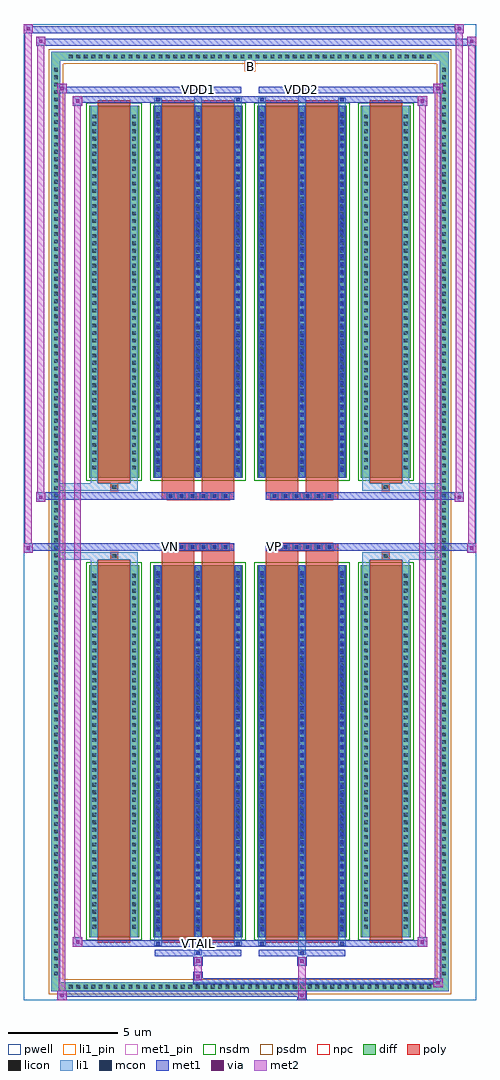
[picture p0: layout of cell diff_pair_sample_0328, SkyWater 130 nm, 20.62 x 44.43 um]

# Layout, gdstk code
import gdstk
lib = gdstk.Library(unit=1e-6, precision=5e-09)
def R(c, l, rs):  # rectangles x0, y0, x1, y1
    for r in rs: c.add(gdstk.rectangle(r[:2], r[2:], *l))
def A(c, l, x, y, w, h, nx, ny, dx, dy):  # array of equal rectangles
    R(c, l, [(x+i*dx, y+j*dy, x+i*dx+w, y+j*dy+h) for i in range(nx) for j in range(ny)])
def P(c, l, *ps):  # polygons
    for p in ps: c.add(gdstk.Polygon(p, *l))
pwell = (64, 44)
diff = (65, 20)
poly = (66, 20)
licon = (66, 44)
li1_pin = (67, 16)
li1 = (67, 20)
mcon = (67, 44)
met1_pin = (68, 16)
met1 = (68, 20)
via = (68, 44)
met2 = (69, 20)
nsdm = (93, 44)
psdm = (94, 20)
npc = (95, 20)

diff_pair_sample_0328 = lib.new_cell('diff_pair_sample_0328')
R(diff_pair_sample_0328, pwell, [(-10.31,-21.78,10.31,22.65), (-7.63,-19.97,-0.01,-0.795), (0.01,-19.97,7.63,-0.795), (-7.63,0.795,-0.01,19.97), (0.01,0.795,7.63,19.97)])
A(diff_pair_sample_0328, diff, -8.365, -21.38, 0.41, 0.41, 49, 2, 0.34, 42.35)
A(diff_pair_sample_0328, diff, -9.04, -20.775, 0.41, 0.41, 1, 122, 0, 0.34)
A(diff_pair_sample_0328, diff, 8.63, -20.775, 0.41, 0.41, 1, 122, 0, 0.34)
R(diff_pair_sample_0328, diff, [(-8.365,-21.38,8.365,-20.97), (-9.04,-20.775,-8.63,20.775), (8.63,-20.775,9.04,20.775), (-7.32,-18.925,-5.05,-1.985), (-4.41,-18.925,-0.32,-1.985), (0.32,-18.925,4.41,-1.985), (5.05,-18.925,7.32,-1.985), (-7.32,1.985,-5.05,18.925), (-4.41,1.985,-0.32,18.925), (0.32,1.985,4.41,18.925), (5.05,1.985,7.32,18.925), (-8.365,20.97,8.365,21.38)])
P(diff_pair_sample_0328, diff, [(9.04,21.38),(-9.04,21.38),(-9.04,-20.97),(-8.63,-20.97),(-8.63,20.97),(8.63,20.97),(8.63,-20.97),(-8.63,-20.97),(-9.04,-20.97),(-9.04,-21.38),(9.04,-21.38)])
A(diff_pair_sample_0328, poly, -3.78, -1.325, 0.33, 0.33, 6, 2, 0.5, 2.32)
A(diff_pair_sample_0328, poly, 0.95, -1.325, 0.33, 0.33, 6, 2, 0.5, 2.32)
R(diff_pair_sample_0328, poly, [(-6.93,-19.175,-5.44,-1.735), (-4.02,-19.175,-2.53,-1.735), (-2.2,-19.175,-0.71,-1.735), (0.71,-19.175,2.2,-1.735), (2.53,-19.175,4.02,-1.735), (5.44,-19.175,6.93,-1.735), (-6.35,-1.735,-6.02,-1.405), (-6.35,-1.735,-6.02,-1.405), (-4.02,-1.735,-2.53,-1.325), (-2.2,-1.735,-0.71,-1.325), (0.71,-1.735,2.2,-1.325), (2.53,-1.735,4.02,-1.325), (6.02,-1.735,6.35,-1.405), (6.02,-1.735,6.35,-1.405), (-4.02,-1.325,-0.71,-0.995), (0.71,-1.325,4.02,-0.995), (-4.02,0.995,-0.71,1.325), (0.71,0.995,4.02,1.325), (-4.02,1.325,-2.53,1.735), (-2.2,1.325,-0.71,1.735), (0.71,1.325,2.2,1.735), (2.53,1.325,4.02,1.735), (-6.35,1.405,-6.02,1.735), (-6.35,1.405,-6.02,1.735), (6.02,1.405,6.35,1.735), (6.02,1.405,6.35,1.735), (-6.93,1.735,-5.44,19.175), (-4.02,1.735,-2.53,19.175), (-2.2,1.735,-0.71,19.175), (0.71,1.735,2.2,19.175), (2.53,1.735,4.02,19.175), (5.44,1.735,6.93,19.175)])
A(diff_pair_sample_0328, licon, -8.245, -21.26, 0.17, 0.17, 49, 2, 0.34, 42.35)
A(diff_pair_sample_0328, licon, -8.92, -20.655, 0.17, 0.17, 1, 122, 0, 0.34)
A(diff_pair_sample_0328, licon, 8.75, -20.655, 0.17, 0.17, 1, 122, 0, 0.34)
A(diff_pair_sample_0328, licon, -7.18, -18.53, 0.17, 0.17, 1, 48, 0, 0.34)
A(diff_pair_sample_0328, licon, -5.36, -18.53, 0.17, 0.17, 1, 48, 0, 0.34)
A(diff_pair_sample_0328, licon, -4.27, -18.53, 0.17, 0.17, 3, 48, 1.82, 0.34)
A(diff_pair_sample_0328, licon, 0.46, -18.53, 0.17, 0.17, 3, 48, 1.82, 0.34)
A(diff_pair_sample_0328, licon, 5.19, -18.53, 0.17, 0.17, 1, 48, 0, 0.34)
A(diff_pair_sample_0328, licon, 7.01, -18.53, 0.17, 0.17, 1, 48, 0, 0.34)
A(diff_pair_sample_0328, licon, -3.7, -1.245, 0.17, 0.17, 6, 2, 0.5, 2.32)
A(diff_pair_sample_0328, licon, 1.03, -1.245, 0.17, 0.17, 6, 2, 0.5, 2.32)
A(diff_pair_sample_0328, licon, -7.18, 2.38, 0.17, 0.17, 1, 48, 0, 0.34)
A(diff_pair_sample_0328, licon, -5.36, 2.38, 0.17, 0.17, 1, 48, 0, 0.34)
A(diff_pair_sample_0328, licon, -4.27, 2.38, 0.17, 0.17, 3, 48, 1.82, 0.34)
A(diff_pair_sample_0328, licon, 0.46, 2.38, 0.17, 0.17, 3, 48, 1.82, 0.34)
A(diff_pair_sample_0328, licon, 5.19, 2.38, 0.17, 0.17, 1, 48, 0, 0.34)
A(diff_pair_sample_0328, licon, 7.01, 2.38, 0.17, 0.17, 1, 48, 0, 0.34)
R(diff_pair_sample_0328, licon, [(-6.27,-1.655,-6.1,-1.485), (6.1,-1.655,6.27,-1.485), (-6.27,1.485,-6.1,1.655), (6.1,1.485,6.27,1.655)])
R(diff_pair_sample_0328, li1_pin, [(-0.25,20.47,0.25,20.97)])
A(diff_pair_sample_0328, li1, -8.325, -21.34, 0.33, 0.33, 49, 2, 0.34, 42.35)
A(diff_pair_sample_0328, li1, -9, -20.735, 0.33, 0.33, 1, 122, 0, 0.34)
A(diff_pair_sample_0328, li1, 8.67, -20.735, 0.33, 0.33, 1, 122, 0, 0.34)
A(diff_pair_sample_0328, li1, -4.35, -18.925, 0.33, 16.94, 3, 2, 1.82, 20.91)
A(diff_pair_sample_0328, li1, 0.38, -18.925, 0.33, 16.94, 3, 2, 1.82, 20.91)
A(diff_pair_sample_0328, li1, -4.27, -18.64, 0.17, 0.17, 3, 46, 1.82, 0.36)
A(diff_pair_sample_0328, li1, -4.27, -18.64, 0.17, 16.37, 3, 2, 1.82, 20.91)
A(diff_pair_sample_0328, li1, 0.46, -18.64, 0.17, 0.17, 3, 46, 1.82, 0.36)
A(diff_pair_sample_0328, li1, 0.46, -18.64, 0.17, 16.37, 3, 2, 1.82, 20.91)
A(diff_pair_sample_0328, li1, -7.26, -18.61, 0.33, 0.33, 1, 48, 0, 0.34)
A(diff_pair_sample_0328, li1, -5.44, -18.61, 0.33, 0.33, 1, 48, 0, 0.34)
A(diff_pair_sample_0328, li1, -4.35, -18.61, 0.33, 0.33, 3, 48, 1.82, 0.34)
A(diff_pair_sample_0328, li1, 0.38, -18.61, 0.33, 0.33, 3, 48, 1.82, 0.34)
A(diff_pair_sample_0328, li1, 5.11, -18.61, 0.33, 0.33, 1, 48, 0, 0.34)
A(diff_pair_sample_0328, li1, 6.93, -18.61, 0.33, 0.33, 1, 48, 0, 0.34)
A(diff_pair_sample_0328, li1, -3.78, -1.325, 0.33, 0.33, 6, 2, 0.5, 2.32)
A(diff_pair_sample_0328, li1, 0.95, -1.325, 0.33, 0.33, 6, 2, 0.5, 2.32)
A(diff_pair_sample_0328, li1, -4.27, 2.27, 0.17, 0.17, 3, 46, 1.82, 0.36)
A(diff_pair_sample_0328, li1, 0.46, 2.27, 0.17, 0.17, 3, 46, 1.82, 0.36)
A(diff_pair_sample_0328, li1, -7.26, 2.3, 0.33, 0.33, 1, 48, 0, 0.34)
A(diff_pair_sample_0328, li1, -5.44, 2.3, 0.33, 0.33, 1, 48, 0, 0.34)
A(diff_pair_sample_0328, li1, -4.35, 2.3, 0.33, 0.33, 3, 48, 1.82, 0.34)
A(diff_pair_sample_0328, li1, 0.38, 2.3, 0.33, 0.33, 3, 48, 1.82, 0.34)
A(diff_pair_sample_0328, li1, 5.11, 2.3, 0.33, 0.33, 1, 48, 0, 0.34)
A(diff_pair_sample_0328, li1, 6.93, 2.3, 0.33, 0.33, 1, 48, 0, 0.34)
R(diff_pair_sample_0328, li1, [(-9.04,-21.38,-8.63,-20.97), (-9.04,-21.38,-8.63,-20.97), (-8.63,-21.38,8.63,-20.97), (8.63,-21.38,9.04,-20.97), (8.63,-21.38,9.04,-20.97), (-9.04,-20.97,-8.63,20.97), (8.63,-20.97,9.04,20.97), (-2.53,-19.73,-2.2,-18.925), (-2.45,-19.73,-2.28,-19.56), (2.2,-19.73,2.53,-18.925), (2.28,-19.73,2.45,-19.56), (-4.35,-19.3,-4.02,-18.925), (-4.27,-19.3,-4.1,-19.13), (-0.71,-19.3,-0.38,-18.925), (-0.63,-19.3,-0.46,-19.13), (0.38,-19.3,0.71,-18.925), (0.46,-19.3,0.63,-19.13), (4.02,-19.3,4.35,-18.925), (4.1,-19.3,4.27,-19.13), (-7.26,-18.925,-6.93,-1.985), (-5.44,-18.925,-5.11,-1.985), (5.11,-18.925,5.44,-1.985), (6.93,-18.925,7.26,-1.985), (-7.26,-1.985,-6.93,-1.405), (-5.44,-1.985,-5.11,-1.405), (5.11,-1.985,5.44,-1.405), (6.93,-1.985,7.26,-1.405), (-9.04,-1.735,-6.35,-1.405), (-7.26,-1.735,-6.35,-1.405), (-6.35,-1.735,-6.02,-1.405), (-6.02,-1.735,-5.11,-1.405), (5.11,-1.735,6.02,-1.405), (6.02,-1.735,6.35,-1.405), (6.02,-1.735,9.04,-1.405), (6.35,-1.735,7.26,-1.405), (-9.04,1.405,-6.35,1.735), (-7.26,1.405,-6.35,1.735), (-7.26,1.405,-6.93,1.985), (-6.35,1.405,-6.02,1.735), (-6.02,1.405,-5.11,1.735), (-5.44,1.405,-5.11,1.985), (5.11,1.405,6.02,1.735), (5.11,1.405,5.44,1.985), (6.02,1.405,6.35,1.735), (6.02,1.405,9.04,1.735), (6.35,1.405,7.26,1.735), (6.93,1.405,7.26,1.985), (-7.26,1.985,-6.93,18.925), (-5.44,1.985,-5.11,18.925), (5.11,1.985,5.44,18.925), (6.93,1.985,7.26,18.925), (-4.35,18.925,-4.02,19.3), (-2.53,18.925,-2.2,19.73), (-0.71,18.925,-0.38,19.3), (0.38,18.925,0.71,19.3), (2.2,18.925,2.53,19.73), (4.02,18.925,4.35,19.3), (-4.27,19.13,-4.1,19.3), (-0.63,19.13,-0.46,19.3), (0.46,19.13,0.63,19.3), (4.1,19.13,4.27,19.3), (-2.45,19.56,-2.28,19.73), (2.28,19.56,2.45,19.73), (-9.04,20.97,-8.63,21.38), (-9.04,20.97,-8.63,21.38), (-8.63,20.97,8.63,21.38), (8.63,20.97,9.04,21.38), (8.63,20.97,9.04,21.38)])
A(diff_pair_sample_0328, mcon, -4.27, -18.64, 0.17, 0.17, 3, 46, 1.82, 0.36)
A(diff_pair_sample_0328, mcon, 0.46, -18.64, 0.17, 0.17, 3, 46, 1.82, 0.36)
A(diff_pair_sample_0328, mcon, -3.7, -1.245, 0.17, 0.17, 6, 2, 0.5, 2.32)
A(diff_pair_sample_0328, mcon, 1.03, -1.245, 0.17, 0.17, 6, 2, 0.5, 2.32)
A(diff_pair_sample_0328, mcon, -4.27, 2.27, 0.17, 0.17, 3, 46, 1.82, 0.36)
A(diff_pair_sample_0328, mcon, 0.46, 2.27, 0.17, 0.17, 3, 46, 1.82, 0.36)
R(diff_pair_sample_0328, mcon, [(-2.45,-19.73,-2.28,-19.56), (2.28,-19.73,2.45,-19.56), (-4.27,-19.3,-4.1,-19.13), (-0.63,-19.3,-0.46,-19.13), (0.46,-19.3,0.63,-19.13), (4.1,-19.3,4.27,-19.13), (-4.27,19.13,-4.1,19.3), (-0.63,19.13,-0.46,19.3), (0.46,19.13,0.63,19.3), (4.1,19.13,4.27,19.3), (-2.45,19.56,-2.28,19.73), (2.28,19.56,2.45,19.73)])
R(diff_pair_sample_0328, met1_pin, [(-2.5,-19.34,-2.23,-19.07), (-3.75,-1.285,-3.48,-1.015), (0.98,-1.285,1.25,-1.015), (-2.5,19.52,-2.23,19.79), (2.23,19.52,2.5,19.79)])
A(diff_pair_sample_0328, met1, -4.33, -18.925, 0.29, 16.94, 3, 2, 1.82, 20.91)
A(diff_pair_sample_0328, met1, 0.4, -18.925, 0.29, 16.94, 3, 2, 1.82, 20.91)
A(diff_pair_sample_0328, met1, -4.33, -18.7, 0.29, 0.29, 3, 46, 1.82, 0.36)
A(diff_pair_sample_0328, met1, 0.4, -18.7, 0.29, 0.29, 3, 46, 1.82, 0.36)
A(diff_pair_sample_0328, met1, -3.76, -1.305, 0.29, 0.29, 6, 2, 0.5, 2.32)
A(diff_pair_sample_0328, met1, 0.97, -1.305, 0.29, 0.29, 6, 2, 0.5, 2.32)
A(diff_pair_sample_0328, met1, -4.33, 2.21, 0.29, 0.29, 3, 46, 1.82, 0.36)
A(diff_pair_sample_0328, met1, 0.4, 2.21, 0.29, 0.29, 3, 46, 1.82, 0.36)
R(diff_pair_sample_0328, met1, [(-8.77,-21.78,-8.34,-21.35), (2.15,-21.78,2.58,-21.35), (-8.77,-21.64,2.58,-21.35), (8.34,-21.21,8.77,-20.78), (-2.58,-21.07,8.77,-20.78), (-2.58,-20.93,-2.15,-20.5), (-2.58,-20.22,-2.15,-19.79), (2.15,-20.22,2.58,-19.79), (-4.33,-19.79,-0.4,-19.5), (-2.51,-19.79,-2.22,-19.5), (0.4,-19.79,4.33,-19.5), (2.22,-19.79,2.51,-19.5), (-8.06,-19.36,-7.63,-18.93), (-8.06,-19.36,-4.33,-19.07), (-4.33,-19.36,-4.04,-19.07), (-4.33,-19.36,-0.4,-19.07), (-0.69,-19.36,-0.4,-19.07), (-0.4,-19.36,0.4,-19.07), (0.4,-19.36,0.69,-19.07), (0.4,-19.36,4.33,-19.07), (4.04,-19.36,4.33,-19.07), (4.33,-19.36,8.06,-19.07), (7.63,-19.36,8.06,-18.93), (-10.31,-1.425,-9.88,-0.995), (9.88,-1.425,10.31,-0.995), (-10.31,-1.325,-0.71,-0.995), (-4.02,-1.325,-0.71,-0.995), (0.71,-1.325,4.02,-0.995), (0.71,-1.325,10.31,-0.995), (-9.74,0.895,-9.31,1.325), (9.31,0.895,9.74,1.325), (-9.74,0.995,-4.02,1.325), (-4.02,0.995,-0.71,1.325), (0.71,0.995,4.02,1.325), (4.02,0.995,9.74,1.325), (-8.06,18.93,-7.63,19.36), (7.63,18.93,8.06,19.36), (-8.06,19.07,-4.33,19.36), (-4.33,19.07,-4.04,19.36), (-4.33,19.07,-0.4,19.36), (-0.69,19.07,-0.4,19.36), (-0.4,19.07,0.4,19.36), (0.4,19.07,0.69,19.36), (0.4,19.07,4.33,19.36), (4.04,19.07,4.33,19.36), (4.33,19.07,8.06,19.36), (-8.77,19.5,-8.34,19.93), (-8.77,19.5,-4.33,19.79), (-4.33,19.5,-0.4,19.79), (-2.51,19.5,-2.22,19.79), (0.4,19.5,4.33,19.79), (2.22,19.5,2.51,19.79), (4.33,19.5,8.77,19.79), (8.34,19.5,8.77,19.93), (-9.74,21.65,-9.31,22.08), (-9.74,21.65,-7.63,21.98), (-7.63,21.65,7.63,21.98), (7.63,21.65,10.31,21.98), (9.88,21.65,10.31,22.08), (-10.31,22.22,-9.88,22.65), (-10.31,22.22,-7.63,22.55), (-7.63,22.22,7.63,22.55), (7.63,22.22,9.74,22.55), (9.31,22.22,9.74,22.65)])
R(diff_pair_sample_0328, via, [(-8.63,-21.64,-8.48,-21.49), (2.29,-21.64,2.44,-21.49), (8.48,-21.07,8.63,-20.92), (-2.44,-20.79,-2.29,-20.64), (-2.44,-20.08,-2.29,-19.93), (2.29,-20.08,2.44,-19.93), (-7.92,-19.22,-7.77,-19.07), (7.77,-19.22,7.92,-19.07), (-10.17,-1.285,-10.02,-1.135), (10.02,-1.285,10.17,-1.135), (-9.6,1.035,-9.45,1.185), (9.45,1.035,9.6,1.185), (-7.92,19.07,-7.77,19.22), (7.77,19.07,7.92,19.22), (-8.63,19.64,-8.48,19.79), (8.48,19.64,8.63,19.79), (-9.6,21.79,-9.45,21.94), (10.02,21.79,10.17,21.94), (-10.17,22.36,-10.02,22.51), (9.45,22.36,9.6,22.51)])
R(diff_pair_sample_0328, met2, [(-8.77,-21.78,-8.34,-21.35), (-8.7,-21.78,-8.41,19.93), (-8.41,-21.78,-8.34,-21.35), (-8.72,-21.73,-8.39,-21.4), (2.2,-21.73,2.53,-21.4), (2.2,-21.4,2.53,-20.17), (8.34,-21.21,8.77,-20.78), (8.41,-21.21,8.7,19.93), (8.7,-21.21,8.77,-20.78), (8.39,-21.16,8.72,-20.83), (-2.53,-20.88,-2.2,-20.55), (-2.53,-20.55,-2.2,-20.17), (-2.53,-20.17,-2.2,-19.84), (2.2,-20.17,2.53,-19.84), (-8.06,-19.36,-7.63,-18.93), (-7.99,-19.36,-7.7,19.36), (-7.7,-19.36,-7.63,-18.93), (7.63,-19.36,8.06,-18.93), (7.7,-19.36,7.99,19.36), (7.99,-19.36,8.06,-18.93), (-8.01,-19.31,-7.68,-18.98), (7.68,-19.31,8.01,-18.98), (-10.31,-1.425,-9.88,-0.995), (-10.26,-1.425,-9.93,22.65), (-9.93,-1.425,-9.88,-0.995), (9.88,-1.425,10.31,-0.995), (9.93,-1.425,10.26,22.08), (10.26,-1.425,10.31,-0.995), (-10.26,-1.375,-9.93,-1.045), (9.93,-1.375,10.26,-1.045), (-9.74,0.895,-9.31,1.325), (-9.69,0.895,-9.36,22.08), (-9.36,0.895,-9.31,1.325), (9.31,0.895,9.74,1.325), (9.36,0.895,9.69,22.65), (9.69,0.895,9.74,1.325), (-9.69,0.945,-9.36,1.275), (9.36,0.945,9.69,1.275), (-8.06,18.93,-7.63,19.36), (-7.7,18.93,-7.63,19.36), (7.63,18.93,8.06,19.36), (7.99,18.93,8.06,19.36), (-8.01,18.98,-7.68,19.31), (7.68,18.98,8.01,19.31), (-8.77,19.5,-8.34,19.93), (-8.41,19.5,-8.34,19.93), (8.34,19.5,8.77,19.93), (8.7,19.5,8.77,19.93), (-8.72,19.55,-8.39,19.88), (8.39,19.55,8.72,19.88), (-9.74,21.65,-9.31,22.08), (-9.36,21.65,-9.31,22.08), (9.88,21.65,10.31,22.08), (10.26,21.65,10.31,22.08), (-9.69,21.7,-9.36,22.03), (9.93,21.7,10.26,22.03), (-10.31,22.22,-9.88,22.65), (-9.93,22.22,-9.88,22.65), (9.31,22.22,9.74,22.65), (9.69,22.22,9.74,22.65), (-10.26,22.27,-9.93,22.6), (9.36,22.27,9.69,22.6)])
R(diff_pair_sample_0328, nsdm, [(-7.45,-19.055,-4.92,-1.855), (-4.54,-19.055,-0.19,-1.855), (0.19,-19.055,4.54,-1.855), (4.92,-19.055,7.45,-1.855), (-7.45,1.855,-4.92,19.055), (-4.54,1.855,-0.19,19.055), (0.19,1.855,4.54,19.055), (4.92,1.855,7.45,19.055)])
P(diff_pair_sample_0328, psdm, [(9.17,21.51),(-9.17,21.51),(-9.17,-20.84),(-8.5,-20.84),(-8.5,20.84),(8.5,20.84),(8.5,-20.84),(-8.5,-20.84),(-9.17,-20.84),(-9.17,-21.51),(9.17,-21.51)])
A(diff_pair_sample_0328, npc, -3.8, -1.345, 0.37, 0.37, 6, 2, 0.5, 2.32)
A(diff_pair_sample_0328, npc, 0.93, -1.345, 0.37, 0.37, 6, 2, 0.5, 2.32)
R(diff_pair_sample_0328, npc, [(-6.37,-1.755,-6,-1.385), (6,-1.755,6.37,-1.385), (-3.8,-1.345,-2.93,-0.975), (-3.8,-1.345,-2.93,-0.975), (-3.3,-1.345,-2.43,-0.975), (-3.3,-1.345,-2.43,-0.975), (-2.8,-1.345,-1.93,-0.975), (-2.8,-1.345,-1.93,-0.975), (-2.3,-1.345,-1.43,-0.975), (-2.3,-1.345,-1.43,-0.975), (-1.8,-1.345,-0.93,-0.975), (-1.8,-1.345,-0.93,-0.975), (0.93,-1.345,1.8,-0.975), (0.93,-1.345,1.8,-0.975), (1.43,-1.345,2.3,-0.975), (1.43,-1.345,2.3,-0.975), (1.93,-1.345,2.8,-0.975), (1.93,-1.345,2.8,-0.975), (2.43,-1.345,3.3,-0.975), (2.43,-1.345,3.3,-0.975), (2.93,-1.345,3.8,-0.975), (2.93,-1.345,3.8,-0.975), (-3.8,0.975,-2.93,1.345), (-3.8,0.975,-2.93,1.345), (-3.3,0.975,-2.43,1.345), (-3.3,0.975,-2.43,1.345), (-2.8,0.975,-1.93,1.345), (-2.8,0.975,-1.93,1.345), (-2.3,0.975,-1.43,1.345), (-2.3,0.975,-1.43,1.345), (-1.8,0.975,-0.93,1.345), (-1.8,0.975,-0.93,1.345), (0.93,0.975,1.8,1.345), (0.93,0.975,1.8,1.345), (1.43,0.975,2.3,1.345), (1.43,0.975,2.3,1.345), (1.93,0.975,2.8,1.345), (1.93,0.975,2.8,1.345), (2.43,0.975,3.3,1.345), (2.43,0.975,3.3,1.345), (2.93,0.975,3.8,1.345), (2.93,0.975,3.8,1.345), (-6.37,1.385,-6,1.755), (6,1.385,6.37,1.755)])
diff_pair_sample_0328.add(gdstk.Label('VTAIL', (-2.365,-19.205), layer=68, texttype=5))
diff_pair_sample_0328.add(gdstk.Label('VN', (-3.615,-1.15), layer=68, texttype=5))
diff_pair_sample_0328.add(gdstk.Label('VP', (1.115,-1.15), layer=68, texttype=5))
diff_pair_sample_0328.add(gdstk.Label('B', (0,20.72), layer=67, texttype=5))
diff_pair_sample_0328.add(gdstk.Label('VDD2', (2.365,19.655), layer=68, texttype=5))
diff_pair_sample_0328.add(gdstk.Label('VDD1', (-2.365,19.655), layer=68, texttype=5))

lib.write_gds('diff_pair_sample_0328.gds')
